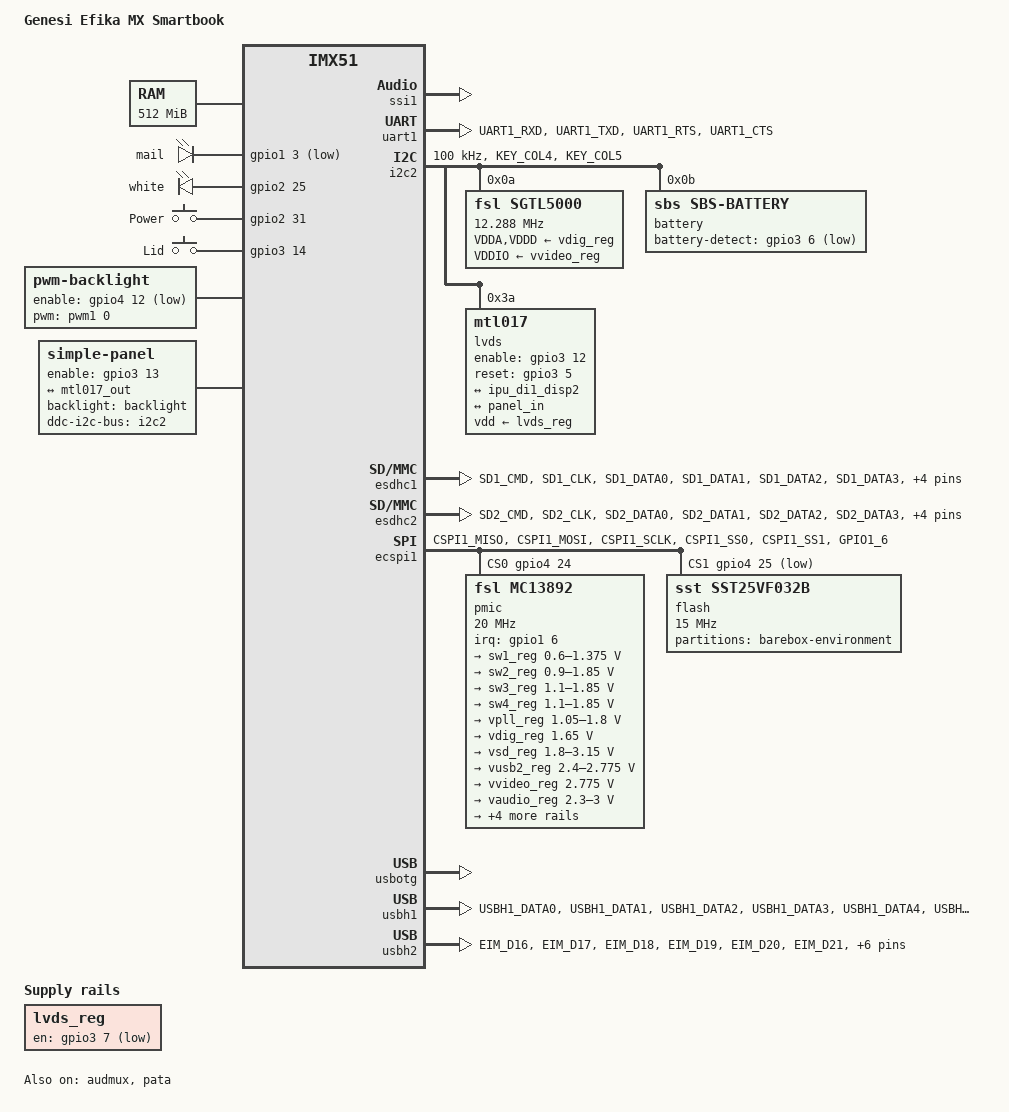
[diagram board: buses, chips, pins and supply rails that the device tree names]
/*
 * Copyright 2012 Sascha Hauer, Pengutronix <s.hauer@pengutronix.de>
 *
 * The code contained herein is licensed under the GNU General Public
 * License. You may obtain a copy of the GNU General Public License
 * Version 2 or later at the following locations:
 *
 * http://www.opensource.org/licenses/gpl-license.html
 * http://www.gnu.org/copyleft/gpl.html
 */

/dts-v1/;
#include "imx51.dtsi"
#include <arm/imx51.dtsi>
#include <dt-bindings/gpio/gpio.h>
#include <dt-bindings/interrupt-controller/irq.h>

/ {
	model = "Genesi Efika MX Smartbook";
	compatible = "genesi,imx51-sb", "fsl,imx51";

	chosen {
		stdout-path = &uart1;

		environment-sd {
			compatible = "barebox,environment";
			device-path = &esdhc2, "partname:barebox-environment";
			status = "disabled";
		};

		environment-spi {
			compatible = "barebox,environment";
			device-path = &flash, "partname:barebox-environment";
			status = "disabled";
		};
	};

	memory {
		reg = <0x90000000 0x20000000>;
	};

	leds {
		compatible = "gpio-leds";
		pinctrl-names = "default";
		pinctrl-0 = <&pinctrl_leds>;

		mail {
			label = "mail";
			gpios = <&gpio1 3 GPIO_ACTIVE_LOW>;
			linux,default-trigger = "heartbeat";
		};

		white {
			label = "white";
			gpios = <&gpio2 25 GPIO_ACTIVE_HIGH>;
			linux,default-trigger = "none";
		};
	};

	gpio-keys {
		compatible = "gpio-keys";
		pinctrl-names = "default";
		pinctrl-0 = <&pinctrl_keys>;

		power {
			label = "Power";
			gpios = <&gpio2 31 GPIO_ACTIVE_HIGH>;
			linux,code = <116>; /* KEY_POWER */
			gpio-key,wakeup;
		};

		lid {
			label = "Lid";
			gpios = <&gpio3 14 GPIO_ACTIVE_HIGH>;
			linux,input-type = <5>; /* EV_SW */
			linux,code = <0>; /* SW_LID */
			debounce-interval = <1>;
			gpio-key,wakeup;
		};
	};

	sound {
		compatible = "fsl,imx51-efikasb-sgtl5000",
			     "fsl,imx-audio-sgtl5000";
		model = "imx51-efikasb-sgtl5000";
		ssi-controller = <&ssi1>;
		audio-codec = <&sgtl5000>;
		audio-routing = "Headphone Jack", "HP_OUT";
		mux-int-port = <1>;
		mux-ext-port = <3>;
	};

	backlight: backlight {
		compatible = "pwm-backlight";
		enable-gpios = <&gpio4 12 GPIO_ACTIVE_LOW>;
		pwms = <&pwm1 0 78770>;
		brightness-levels = <0 1 2 4 8 16 32 64 128 255>;
		default-brightness-level = <9>;
		pinctrl-names = "default";
		pinctrl-0 = <&pinctrl_backlight>;
	};

	panel {
		compatible = "simple-panel";
		backlight = <&backlight>;
		enable-gpios = <&gpio3 13 GPIO_ACTIVE_HIGH>;
		ddc-i2c-bus = <&i2c2>;
		enable-delay = <200>;

		port {
			panel_in: endpoint {
				remote-endpoint = <&mtl017_out>;
			};
		};
	};

	lvds_reg: lvds_regulator {
		compatible = "regulator-fixed";
		gpio = <&gpio3 7 GPIO_ACTIVE_HIGH>;
	};
};

&ssi1 {
	fsl,mode = "i2s-slave";
	status = "okay";
};

&iomuxc {
	pinctrl-names = "default";
	pinctrl-0 = <&pinctrl_hog>;

	imx51-genesi-efika-sb {
		pinctrl_hog: hoggrp {
			fsl,pins = <
				MX51_PAD_EIM_A16__GPIO2_10  0x80000000		/* WLAN reset */
				MX51_PAD_EIM_A22__GPIO2_16 0x80000000		/* WLAN power */
				MX51_PAD_DI1_PIN12__GPIO3_1 0x80000000		/* WLAN switch */
				MX51_PAD_EIM_A17__GPIO2_11  0x80000000		/* Bluetooth power */
				MX51_PAD_EIM_A23__GPIO2_17 0x80000000		/* Audio amp enable, 1 = on */
				MX51_PAD_NANDF_CS0__GPIO3_16 0x80000000		/* Camera power, 0 = on */
				MX51_PAD_GPIO1_5__GPIO1_5 0x80000000		/* USB hub reset, 0 = reset */
				MX51_PAD_EIM_D27__GPIO2_9  0x80000000		/* USB phy reset, 0 = reset */
				MX51_PAD_CSPI1_RDY__GPIO4_26 0x80000000		/* Audio clk enable */
				MX51_PAD_CSI2_D19__GPIO4_12 0x80000000		/* Backlight power, 0 = on */
			>;
		};

		pinctrl_backlight: backlightgrp {
			fsl,pins = <
				MX51_PAD_GPIO1_2__PWM1_PWMO 0x80000000		/* Backlight PWM */
			>;
		};

		pinctrl_audmux: audmuxgrp {
			fsl,pins = <
				MX51_PAD_AUD3_BB_TXD__AUD3_TXD 0x80000000
				MX51_PAD_AUD3_BB_RXD__AUD3_RXD 0x80000000
				MX51_PAD_AUD3_BB_CK__AUD3_TXC 0x80000000
				MX51_PAD_AUD3_BB_FS__AUD3_TXFS 0x80000000
			>;
		};

		pinctrl_battery: batterygrp {
			fsl,pins = <
				MX51_PAD_DISPB2_SER_DIO__GPIO3_6 0xe5 /* Battery */
			>;
		};

		pinctrl_ecspi1: ecspi1grp {
			fsl,pins = <
				MX51_PAD_CSPI1_MISO__ECSPI1_MISO 0x185
				MX51_PAD_CSPI1_MOSI__ECSPI1_MOSI 0x185
				MX51_PAD_CSPI1_SCLK__ECSPI1_SCLK 0x185
				MX51_PAD_CSPI1_SS0__GPIO4_24	0x85 /* CS0 */
				MX51_PAD_CSPI1_SS1__GPIO4_25	0x85 /* CS1 */
				MX51_PAD_GPIO1_6__GPIO1_6	0xe5 /* PMIC IRQ */
			>;
		};

		pinctrl_esdhc1: esdhc1grp {
			fsl,pins = <
				MX51_PAD_SD1_CMD__SD1_CMD 0x400020d5
				MX51_PAD_SD1_CLK__SD1_CLK 0x20d5
				MX51_PAD_SD1_DATA0__SD1_DATA0 0x20d5
				MX51_PAD_SD1_DATA1__SD1_DATA1 0x20d5
				MX51_PAD_SD1_DATA2__SD1_DATA2 0x20d5
				MX51_PAD_SD1_DATA3__SD1_DATA3 0x20d5
				MX51_PAD_GPIO1_1__GPIO1_1	0xe5 /* WP */
				MX51_PAD_EIM_CS2__GPIO2_27	0xe5 /* CD */
			>;
		};

		pinctrl_esdhc2: esdhc2grp {
			fsl,pins = <
				MX51_PAD_SD2_CMD__SD2_CMD 0x400020d5
				MX51_PAD_SD2_CLK__SD2_CLK 0x20d5
				MX51_PAD_SD2_DATA0__SD2_DATA0 0x20d5
				MX51_PAD_SD2_DATA1__SD2_DATA1 0x20d5
				MX51_PAD_SD2_DATA2__SD2_DATA2 0x20d5
				MX51_PAD_SD2_DATA3__SD2_DATA3 0x20d5
				MX51_PAD_GPIO1_7__GPIO1_7	0xe5 /* WP */
				MX51_PAD_GPIO1_8__GPIO1_8	0xe5 /* CD */
			>;
		};

		pinctrl_i2c2: i2c2grp {
			fsl,pins = <
				MX51_PAD_KEY_COL4__I2C2_SCL 0x400001ed
				MX51_PAD_KEY_COL5__I2C2_SDA 0x400001ed
			>;
		};

		pinctrl_ipu_disp2: ipudisp2grp {
			fsl,pins = <
				MX51_PAD_DISP2_DAT0__DISP2_DAT0     0x5
				MX51_PAD_DISP2_DAT1__DISP2_DAT1     0x5
				MX51_PAD_DISP2_DAT2__DISP2_DAT2     0x5
				MX51_PAD_DISP2_DAT3__DISP2_DAT3     0x5
				MX51_PAD_DISP2_DAT4__DISP2_DAT4     0x5
				MX51_PAD_DISP2_DAT5__DISP2_DAT5     0x5
				MX51_PAD_DISP2_DAT6__DISP2_DAT6     0x5
				MX51_PAD_DISP2_DAT7__DISP2_DAT7     0x5
				MX51_PAD_DISP2_DAT8__DISP2_DAT8     0x5
				MX51_PAD_DISP2_DAT9__DISP2_DAT9     0x5
				MX51_PAD_DISP2_DAT10__DISP2_DAT10   0x5
				MX51_PAD_DISP2_DAT11__DISP2_DAT11   0x5
				MX51_PAD_DISP2_DAT12__DISP2_DAT12   0x5
				MX51_PAD_DISP2_DAT13__DISP2_DAT13   0x5
				MX51_PAD_DISP2_DAT14__DISP2_DAT14   0x5
				MX51_PAD_DISP2_DAT15__DISP2_DAT15   0x5
				MX51_PAD_DI2_PIN2__DI2_PIN2         0x5 /* hsync */
				MX51_PAD_DI2_PIN3__DI2_PIN3         0x5 /* vsync */
				MX51_PAD_DI2_DISP_CLK__DI2_DISP_CLK 0x5
				MX51_PAD_DI_GP4__DI2_PIN15          0x5
				MX51_PAD_CSI1_D8__GPIO3_12 0x80000000		/* LVDS enable, 1 = on */
				MX51_PAD_DISPB2_SER_DIN__GPIO3_5 0x80000000	/* LVDS reset (1 = reset) */
				MX51_PAD_DISPB2_SER_CLK__GPIO3_7 0x80000000	/* LVDS power, 1 = on */
				MX51_PAD_CSI1_D9__GPIO3_13 0x80000000		/* LCD enable (1 = on */
			>;
		};

		pinctrl_keys: keysgrp {
			fsl,pins = <
				MX51_PAD_EIM_DTACK__GPIO2_31	0xe5 /* Power btn */
				MX51_PAD_CSI1_VSYNC__GPIO3_14	0xe5 /* Lid switch */
			>;
		};

		pinctrl_leds: ledsgrp {
			fsl,pins = <
				MX51_PAD_GPIO1_3__GPIO1_3	0x85 /* Alarm LED */
				MX51_PAD_EIM_CS0__GPIO2_25	0x85 /* Caps LED */
			>;
		};

		pinctrl_pata: patagrp {
			fsl,pins = <
				MX51_PAD_NANDF_WE_B__PATA_DIOW		0x2004
				MX51_PAD_NANDF_RE_B__PATA_DIOR		0x2004
				MX51_PAD_NANDF_ALE__PATA_BUFFER_EN	0x2004
				MX51_PAD_NANDF_CLE__PATA_RESET_B	0x2004
				MX51_PAD_NANDF_WP_B__PATA_DMACK		0x2004
				MX51_PAD_NANDF_RB0__PATA_DMARQ		0x2004
				MX51_PAD_NANDF_RB1__PATA_IORDY		0x2004
				MX51_PAD_GPIO_NAND__PATA_INTRQ		0x2004
				MX51_PAD_NANDF_CS2__PATA_CS_0		0x2004
				MX51_PAD_NANDF_CS3__PATA_CS_1		0x2004
				MX51_PAD_NANDF_CS4__PATA_DA_0		0x2004
				MX51_PAD_NANDF_CS5__PATA_DA_1		0x2004
				MX51_PAD_NANDF_CS6__PATA_DA_2		0x2004
				MX51_PAD_NANDF_D15__PATA_DATA15		0x2004
				MX51_PAD_NANDF_D14__PATA_DATA14		0x2004
				MX51_PAD_NANDF_D13__PATA_DATA13		0x2004
				MX51_PAD_NANDF_D12__PATA_DATA12		0x2004
				MX51_PAD_NANDF_D11__PATA_DATA11		0x2004
				MX51_PAD_NANDF_D10__PATA_DATA10		0x2004
				MX51_PAD_NANDF_D9__PATA_DATA9		0x2004
				MX51_PAD_NANDF_D8__PATA_DATA8		0x2004
				MX51_PAD_NANDF_D7__PATA_DATA7		0x2004
				MX51_PAD_NANDF_D6__PATA_DATA6		0x2004
				MX51_PAD_NANDF_D5__PATA_DATA5		0x2004
				MX51_PAD_NANDF_D4__PATA_DATA4		0x2004
				MX51_PAD_NANDF_D3__PATA_DATA3		0x2004
				MX51_PAD_NANDF_D2__PATA_DATA2		0x2004
				MX51_PAD_NANDF_D1__PATA_DATA1		0x2004
				MX51_PAD_NANDF_D0__PATA_DATA0		0x2004
			>;
		};

		pinctrl_uart1: uart1grp {
			fsl,pins = <
				MX51_PAD_UART1_RXD__UART1_RXD		0x1c5
				MX51_PAD_UART1_TXD__UART1_TXD		0x1c5
				MX51_PAD_UART1_RTS__UART1_RTS		0x1c5
				MX51_PAD_UART1_CTS__UART1_CTS		0x1c5
			>;
		};

		pinctrl_usbh1: usbh1grp {
			fsl,pins = <
				MX51_PAD_USBH1_DATA0__USBH1_DATA0	0x1e5
				MX51_PAD_USBH1_DATA1__USBH1_DATA1	0x1e5
				MX51_PAD_USBH1_DATA2__USBH1_DATA2	0x1e5
				MX51_PAD_USBH1_DATA3__USBH1_DATA3	0x1e5
				MX51_PAD_USBH1_DATA4__USBH1_DATA4	0x1e5
				MX51_PAD_USBH1_DATA5__USBH1_DATA5	0x1e5
				MX51_PAD_USBH1_DATA6__USBH1_DATA6	0x1e5
				MX51_PAD_USBH1_DATA7__USBH1_DATA7	0x1e5
				MX51_PAD_USBH1_CLK__USBH1_CLK		0x1e5
				MX51_PAD_USBH1_DIR__USBH1_DIR		0x1e5
				MX51_PAD_USBH1_NXT__USBH1_NXT		0x1e5
				MX51_PAD_USBH1_STP__USBH1_STP		0x1e5
			>;
		};

		pinctrl_usbh2: usbh2grp {
			fsl,pins = <
				MX51_PAD_EIM_D16__USBH2_DATA0		0x1e5
				MX51_PAD_EIM_D17__USBH2_DATA1		0x1e5
				MX51_PAD_EIM_D18__USBH2_DATA2		0x1e5
				MX51_PAD_EIM_D19__USBH2_DATA3		0x1e5
				MX51_PAD_EIM_D20__USBH2_DATA4		0x1e5
				MX51_PAD_EIM_D21__USBH2_DATA5		0x1e5
				MX51_PAD_EIM_D22__USBH2_DATA6		0x1e5
				MX51_PAD_EIM_D23__USBH2_DATA7		0x1e5
				MX51_PAD_EIM_A24__USBH2_CLK		0x1e5
				MX51_PAD_EIM_A25__USBH2_DIR		0x1e5
				MX51_PAD_EIM_A27__USBH2_NXT		0x1e5
				MX51_PAD_EIM_A26__USBH2_STP		0x1e5
			>;
		};
	};
};

&uart1 {
	pinctrl-names = "default";
	pinctrl-0 = <&pinctrl_uart1>;
	fsl,uart-has-rtscts;
	status = "okay";
};

&i2c2 {
	pinctrl-names = "default";
	pinctrl-0 = <&pinctrl_i2c2>;
	clock-frequency = <100000>;
	status = "okay";

	sgtl5000: codec@0a {
		compatible = "fsl,sgtl5000";
		reg = <0x0a>;
		clock-frequency = <12288000>;
		VDDA-supply = <&vdig_reg>;
		VDDD-supply = <&vdig_reg>;
		VDDIO-supply = <&vvideo_reg>;
	};

	battery: battery@0b {
		compatible = "sbs,sbs-battery";
		pinctrl-names = "default";
		pinctrl-0 = <&pinctrl_battery>;
		reg = <0x0b>;
		sbs,battery-detect-gpios = <&gpio3 6 GPIO_ACTIVE_LOW>;
	};

	lvds: mtl017@3a {
		#address-cells = <1>;
		#size-cells = <0>;
		compatible = "mtl017";
		pinctrl-names = "default";
		pinctrl-0 = <&pinctrl_ipu_disp2>;
		enable-gpios =  <&gpio3 12 GPIO_ACTIVE_HIGH>;
		reset-gpios =  <&gpio3 5 GPIO_ACTIVE_HIGH>;
		vdd-supply = <&lvds_reg>;
		reg = <0x3a>;

		port@0 {
			reg = <0>;

			mtl017_in: endpoint {
				remote-endpoint = <&ipu_di1_disp2>;
			};
		};

		port@1 {
			reg = <1>;

			mtl017_out: endpoint {
				remote-endpoint = <&panel_in>;
			};
		};
	};
};

&ipu_di1 {
	interface-pix-fmt = "rgb565";
	endpoint {
		remote-endpoint = <&mtl017_in>;
	};
};

&esdhc1 {
	pinctrl-names = "default";
	pinctrl-0 = <&pinctrl_esdhc1>;
	cd-gpios = <&gpio2 27 GPIO_ACTIVE_HIGH>;
	wp-gpios = <&gpio1 1 GPIO_ACTIVE_HIGH>;
	status = "okay";
};

&esdhc2 {
	pinctrl-names = "default";
	pinctrl-0 = <&pinctrl_esdhc2>;
	cd-gpios = <&gpio1 8 GPIO_ACTIVE_HIGH>;
	wp-gpios = <&gpio1 7 GPIO_ACTIVE_HIGH>;
	status = "okay";
	#address-cells = <1>;
	#size-cells = <1>;

	partition@e0000 {
		label = "barebox-environment";
		reg = <0xe0000 0x20000>;
	};
};

&ecspi1 {
	pinctrl-names = "default";
	pinctrl-0 = <&pinctrl_ecspi1>;
	fsl,spi-num-chipselects = <2>;
	cs-gpios = <&gpio4 24 GPIO_ACTIVE_HIGH>,
		   <&gpio4 25 GPIO_ACTIVE_LOW>;
	status = "okay";

	pmic: mc13892@0 {
		#address-cells = <1>;
		#size-cells = <0>;
		compatible = "fsl,mc13892";
		spi-max-frequency = <20000000>;
		reg = <0>;
		spi-cs-high;
		interrupt-parent = <&gpio1>;
		interrupts = <6 IRQ_TYPE_LEVEL_HIGH>;

		regulators {
			sw1_reg: sw1 {
				regulator-min-microvolt = <600000>;
				regulator-max-microvolt = <1375000>;
				regulator-boot-on;
				regulator-always-on;
			};

			sw2_reg: sw2 {
				regulator-min-microvolt = <900000>;
				regulator-max-microvolt = <1850000>;
				regulator-boot-on;
				regulator-always-on;
			};

			sw3_reg: sw3 {
				regulator-min-microvolt = <1100000>;
				regulator-max-microvolt = <1850000>;
				regulator-boot-on;
				regulator-always-on;
			};

			sw4_reg: sw4 {
				regulator-min-microvolt = <1100000>;
				regulator-max-microvolt = <1850000>;
				regulator-boot-on;
				regulator-always-on;
			};

			vpll_reg: vpll {
				regulator-min-microvolt = <1050000>;
				regulator-max-microvolt = <1800000>;
				regulator-boot-on;
				regulator-always-on;
			};

			vdig_reg: vdig {
				regulator-min-microvolt = <1650000>;
				regulator-max-microvolt = <1650000>;
			};

			vsd_reg: vsd {
				regulator-min-microvolt = <1800000>;
				regulator-max-microvolt = <3150000>;
			};

			vusb2_reg: vusb2 {
				regulator-min-microvolt = <2400000>;
				regulator-max-microvolt = <2775000>;
				regulator-boot-on;
				regulator-always-on;
			};

			vvideo_reg: vvideo {
				regulator-min-microvolt = <2775000>;
				regulator-max-microvolt = <2775000>;
			};

			vaudio_reg: vaudio {
				regulator-min-microvolt = <2300000>;
				regulator-max-microvolt = <3000000>;
			};

			vcam_reg: vcam {
				regulator-min-microvolt = <2500000>;
				regulator-max-microvolt = <3000000>;
			};

			vgen1_reg: vgen1 {
				regulator-min-microvolt = <1200000>;
				regulator-max-microvolt = <1200000>;
			};

			vgen2_reg: vgen2 {
				regulator-min-microvolt = <1200000>;
				regulator-max-microvolt = <3150000>;
				regulator-always-on;
			};

			vgen3_reg: vgen3 {
				regulator-min-microvolt = <1800000>;
				regulator-max-microvolt = <2900000>;
				regulator-always-on;
			};
		};
	};

	flash: m25p80 {
		compatible = "sst,sst25vf032b", "m25p80";
		spi-max-frequency = <15000000>;
		reg = <1>;
		#address-cells = <1>;
		#size-cells = <1>;

		partition@e0000 {
			label = "barebox-environment";
			reg = <0xe0000 0x20000>;
		};
	};
};

&audmux {
	pinctrl-names = "default";
	pinctrl-0 = <&pinctrl_audmux>;
	status = "okay";
};

&pata {
	pinctrl-names = "default";
	pinctrl-0 = <&pinctrl_pata>;
	status = "okay";
};

&usbotg {
	phy_type = "utmi_wide";
	status = "okay";
};

&usbh1 {
	pinctrl-names = "default";
	pinctrl-0 = <&pinctrl_usbh1>;
	phy_type = "ulpi";
	status = "okay";
};

&usbh2 {
	pinctrl-names = "default";
	pinctrl-0 = <&pinctrl_usbh2>;
	phy_type = "ulpi";
	status = "okay";
};
